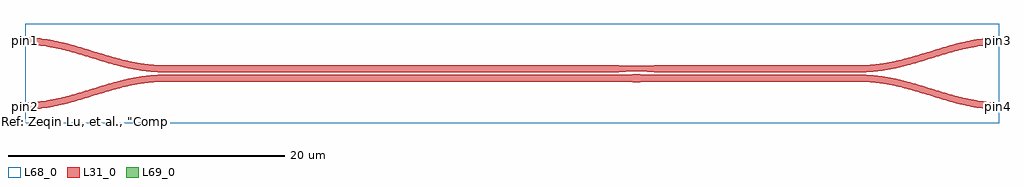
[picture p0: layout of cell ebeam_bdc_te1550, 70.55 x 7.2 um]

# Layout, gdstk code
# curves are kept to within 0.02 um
import gdstk
lib = gdstk.Library(unit=1e-6, precision=1e-09)
def R(c, l, rs):  # rectangles x0, y0, x1, y1
    for r in rs: c.add(gdstk.rectangle(r[:2], r[2:], *l))
def P(c, l, *ps):  # polygons
    for p in ps: c.add(gdstk.Polygon(p, *l))
L31_0 = (31, 0)
L68_0 = (68, 0)
L69_0 = (69, 0)

ebeam_bdc_te1550 = lib.new_cell('ebeam_bdc_te1550')
R(ebeam_bdc_te1550, L31_0, [(44,-0.65,44.55,-0.05), (10,-0.6,43,-0.1), (45.55,-0.6,60.55,-0.1), (10,0.1,43,0.6), (45.55,0.1,60.55,0.6), (44,0.15,44.55,0.55)])
P(ebeam_bdc_te1550, L31_0, [(43,0.1),(43,0.6),(44,0.55),(44,0.15)],
  [(44,-0.65),(43,-0.6),(43,-0.1),(44,-0.05)],
  [(45.55,0.1),(44.55,0.15),(44.55,0.55),(45.55,0.6)],
  [(44.55,-0.65),(44.55,-0.05),(45.55,-0.1),(45.55,-0.6)],
  [(70.55,-2.6),(69.488,-2.543),(68.353,-2.368),(67.048,-2.055),(64.212,-1.209),(63.042,-0.906),(61.859,-0.69),(61.158,-0.62),(60.55,-0.6),(60.55,-0.1),(61.612,-0.157),(62.747,-0.332),(64.052,-0.645),(66.888,-1.491),(68.058,-1.794),(69.241,-2.01),(69.942,-2.08),(70.55,-2.1)],
  [(60.55,0.1),(60.55,0.6),(61.158,0.62),(61.859,0.69),(63.042,0.906),(64.212,1.209),(67.048,2.055),(68.353,2.368),(69.488,2.543),(70.55,2.6),(70.55,2.1),(69.942,2.08),(69.241,2.01),(68.058,1.794),(66.888,1.491),(64.052,0.645),(62.747,0.332),(61.612,0.157)],
  [(0,-2.6),(0,-2.1),(0.608,-2.08),(1.309,-2.01),(2.492,-1.794),(3.662,-1.491),(6.498,-0.645),(7.803,-0.332),(8.938,-0.157),(10,-0.1),(10,-0.6),(9.392,-0.62),(8.691,-0.69),(7.508,-0.906),(6.338,-1.209),(3.502,-2.055),(2.197,-2.368),(1.062,-2.543)],
  [(10,0.1),(8.938,0.157),(7.803,0.332),(6.498,0.645),(3.662,1.491),(2.492,1.794),(1.309,2.01),(0.608,2.08),(0,2.1),(0,2.6),(1.062,2.543),(2.197,2.368),(3.502,2.055),(6.338,1.209),(7.508,0.906),(8.691,0.69),(9.392,0.62),(10,0.6)])
R(ebeam_bdc_te1550, L68_0, [(0.1,-3.6,70.5,3.6)])
ebeam_bdc_te1550.add(gdstk.FlexPath([(0,2.35),(0.2,2.35)], 0.5, ends="flush", simple_path=True, layer=69, datatype=0))  # L69_0
ebeam_bdc_te1550.add(gdstk.FlexPath([(0,-2.35),(0.2,-2.35)], 0.5, ends="flush", simple_path=True, layer=69, datatype=0))  # L69_0
ebeam_bdc_te1550.add(gdstk.FlexPath([(70.35,2.35),(70.55,2.35)], 0.5, ends="flush", simple_path=True, layer=69, datatype=0))  # L69_0
ebeam_bdc_te1550.add(gdstk.FlexPath([(70.35,-2.35),(70.55,-2.35)], 0.5, ends="flush", simple_path=True, layer=69, datatype=0))  # L69_0
ebeam_bdc_te1550.add(gdstk.Label('pin2', (0.1,-2.35), layer=69, texttype=0))
ebeam_bdc_te1550.add(gdstk.Label('pin3', (70.45,2.35), layer=69, texttype=0))
ebeam_bdc_te1550.add(gdstk.Label('pin4', (70.45,-2.35), layer=69, texttype=0))
ebeam_bdc_te1550.add(gdstk.Label('Ref: Zeqin Lu, et al., "Comparison of photonic 2x2 3-dB couplers for 220 nm silicon-on-insulator platforms," GFP 2015', (0,-3.5), layer=69, texttype=0))
ebeam_bdc_te1550.add(gdstk.Label('pin1', (0.1,2.35), layer=69, texttype=0))

lib.write_gds('ebeam_bdc_te1550.gds')
